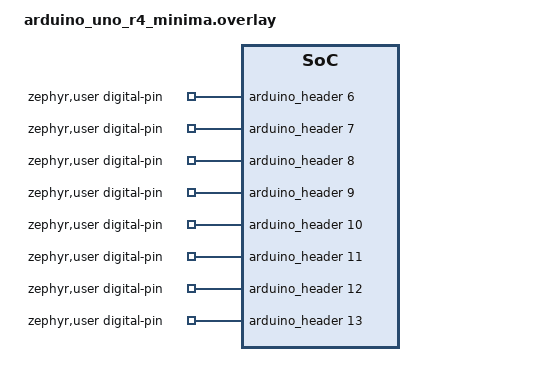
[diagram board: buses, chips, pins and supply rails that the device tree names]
/*
 * Copyright (c) 2023 TOKITA Hiroshi <tokita.hiroshi@gmail.com>
 *
 * SPDX-License-Identifier: Apache-2.0
 */

/ {
	zephyr,user {
		digital-pin-gpios = <&arduino_header 6 0>,	/* Digital */
				    <&arduino_header 7 0>,
				    <&arduino_header 8 0>,
				    <&arduino_header 9 0>,
				    <&arduino_header 10 0>,
				    <&arduino_header 11 0>,
				    <&arduino_header 12 0>,
				    <&arduino_header 13 0>,
				    <&arduino_header 14 0>,
				    <&arduino_header 15 0>,
				    <&arduino_header 16 0>,
				    <&arduino_header 17 0>,
				    <&arduino_header 18 0>,
				    <&arduino_header 19 0>,
				    <&arduino_header 20 0>,
				    <&arduino_header 21 0>,
				    <&arduino_header 0 0>,	/* Analog */
				    <&arduino_header 1 0>,
				    <&arduino_header 2 0>,
				    <&arduino_header 3 0>,
				    <&arduino_header 4 0>,
				    <&arduino_header 5 0>;
				    <&ioport0 12 GPIO_ACTIVE_LOW>, /* TX LED */
				    <&ioport0 13 GPIO_ACTIVE_LOW>; /* RX LED */
	};

	builtin-led-gpios = <&arduino_header 21 0>; /* LED */
	serials = <&uart2>;
};
